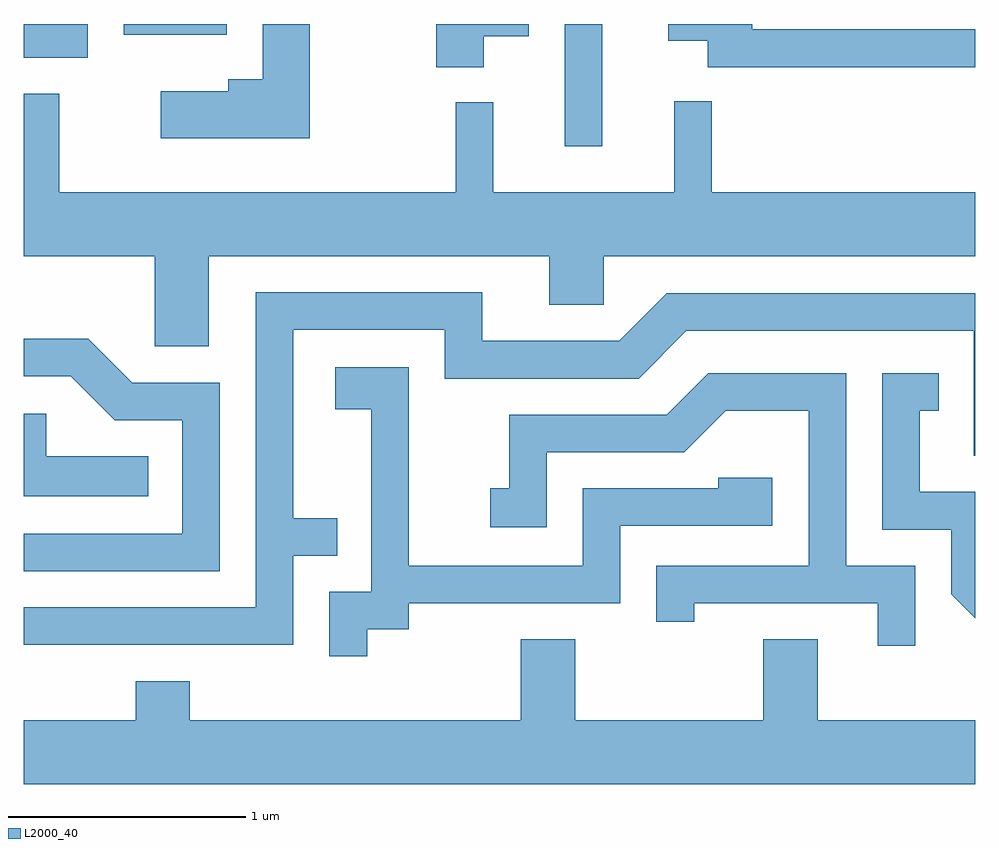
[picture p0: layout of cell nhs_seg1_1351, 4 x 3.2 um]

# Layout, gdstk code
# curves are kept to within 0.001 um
import gdstk
lib = gdstk.Library(unit=1e-6, precision=1e-09)
def R(c, l, rs):  # rectangles x0, y0, x1, y1
    for r in rs: c.add(gdstk.rectangle(r[:2], r[2:], *l))
def P(c, l, *ps):  # polygons
    for p in ps: c.add(gdstk.Polygon(p, *l))
L2000_40 = (2000, 40)

nhs_seg1_1351 = lib.new_cell('nhs_seg1_1351')
R(nhs_seg1_1351, L2000_40, [(229.886,851.198,230.044,851.712), (227.611,851.571,227.879,851.712), (228.031,851.666,228.464,851.712)])
P(nhs_seg1_1351, L2000_40, [(231.611,851.689),(230.674,851.689),(230.674,851.712),(230.321,851.712),(230.321,851.641),(230.486,851.641),(230.486,851.531),(231.611,851.531)],
  [(228.814,851.712),(228.616,851.712),(228.616,851.479),(228.471,851.479),(228.471,851.429),(228.186,851.429),(228.186,851.231),(228.814,851.231)],
  [(229.544,851.661),(229.734,851.661),(229.734,851.712),(229.346,851.712),(229.346,851.531),(229.544,851.531)],
  [(228.389,850.736),(229.821,850.736),(229.821,850.531),(230.049,850.531),(230.049,850.736),(231.611,850.736),(231.611,851.004),(230.504,851.004),(230.504,851.388),(230.346,851.388),(230.346,851.004),(229.584,851.004),(229.584,851.383),(229.426,851.383),(229.426,851.004),(227.759,851.004),(227.759,851.419),(227.611,851.419),(227.611,850.736),(228.161,850.736),(228.161,850.356),(228.389,850.356)],
  [(228.744,849.476),(228.928,849.476),(228.928,849.634),(228.744,849.634),(228.744,850.426),(229.381,850.426),(229.381,850.221),(230.197,850.221),(230.397,850.421),(231.606,850.421),(231.606,849.896),(231.611,849.896),(231.611,850.579),(230.314,850.579),(230.114,850.379),(229.539,850.379),(229.539,850.584),(228.586,850.584),(228.586,849.259),(227.611,849.259),(227.611,849.101),(228.744,849.101)],
  [(228.434,850.204),(228.067,850.204),(227.882,850.389),(227.611,850.389),(227.611,850.231),(227.809,850.231),(227.994,850.046),(228.276,850.046),(228.276,849.569),(227.611,849.569),(227.611,849.411),(228.434,849.411)],
  [(229.054,849.166),(229.229,849.166),(229.229,849.276),(230.119,849.276),(230.119,849.601),(230.759,849.601),(230.759,849.804),(230.531,849.804),(230.531,849.759),(229.961,849.759),(229.961,849.434),(229.229,849.434),(229.229,850.269),(228.921,850.269),(228.921,850.091),(229.071,850.091),(229.071,849.324),(228.896,849.324),(228.896,849.053),(229.054,849.053)],
  [(231.359,849.434),(231.069,849.434),(231.069,850.244),(230.489,850.244),(230.314,850.069),(229.651,850.069),(229.651,849.759),(229.573,849.759),(229.573,849.596),(229.809,849.596),(229.809,849.911),(230.387,849.911),(230.562,850.086),(230.911,850.086),(230.911,849.434),(230.271,849.434),(230.271,849.198),(230.429,849.198),(230.429,849.276),(231.201,849.276),(231.201,849.098),(231.359,849.098)],
  [(231.611,849.744),(231.379,849.744),(231.379,850.086),(231.458,850.086),(231.458,850.244),(231.221,850.244),(231.221,849.586),(231.511,849.586),(231.511,849.314),(231.611,849.214)],
  [(228.133,849.894),(227.704,849.894),(227.704,850.074),(227.611,850.074),(227.611,849.726),(228.133,849.726)],
  [(231.611,848.784),(230.949,848.784),(230.949,849.124),(230.721,849.124),(230.721,848.784),(229.929,848.784),(229.929,849.124),(229.701,849.124),(229.701,848.784),(228.309,848.784),(228.309,848.949),(228.081,848.949),(228.081,848.784),(227.611,848.784),(227.611,848.516),(231.611,848.516)])

lib.write_gds('nhs_seg1_1351.gds')
